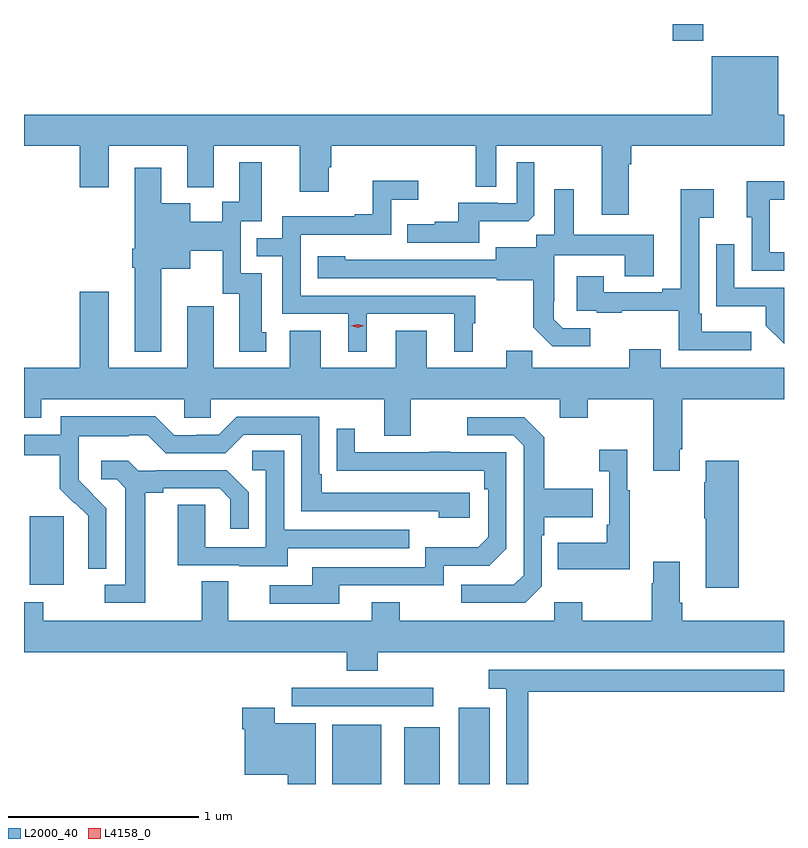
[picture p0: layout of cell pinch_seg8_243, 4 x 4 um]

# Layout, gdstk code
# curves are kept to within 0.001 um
import gdstk
lib = gdstk.Library(unit=1e-6, precision=1e-09)
def R(c, l, rs):  # rectangles x0, y0, x1, y1
    for r in rs: c.add(gdstk.rectangle(r[:2], r[2:], *l))
def P(c, l, *ps):  # polygons
    for p in ps: c.add(gdstk.Polygon(p, *l))
L2000_40 = (2000, 40)
L4158_0 = (4158, 0)

pinch_seg8_243 = lib.new_cell('pinch_seg8_243')
R(pinch_seg8_243, L2000_40, [(820.928,1098.49,821.185,1098.802), (821.306,1098.49,821.494,1098.79), (821.594,1098.49,821.755,1098.892), (820.713,1098.9,821.458,1098.996), (819.335,1099.538,819.514,1099.899), (822.719,1102.401,822.879,1102.49)])
P(pinch_seg8_243, L2000_40, [(822.487,1101.752),(822.5,1101.752),(822.5,1101.848),(823.305,1101.848),(823.305,1102.012),(823.276,1102.012),(823.276,1102.321),(822.926,1102.321),(822.926,1102.012),(819.305,1102.012),(819.305,1101.848),(819.599,1101.848),(819.599,1101.63),(819.751,1101.63),(819.751,1101.848),(820.163,1101.848),(820.163,1101.632),(820.303,1101.632),(820.303,1101.848),(820.757,1101.848),(820.757,1101.606),(820.909,1101.606),(820.909,1101.735),(820.922,1101.735),(820.922,1101.848),(821.682,1101.848),(821.682,1101.634),(821.79,1101.634),(821.79,1101.848),(822.347,1101.848),(822.347,1101.486),(822.487,1101.486)],
  [(821.701,1101.452),(821.959,1101.452),(821.991,1101.483),(821.991,1101.763),(821.898,1101.763),(821.898,1101.546),(821.798,1101.546),(821.798,1101.549),(821.591,1101.549),(821.591,1101.448),(821.467,1101.448),(821.467,1101.436),(821.323,1101.436),(821.323,1101.339),(821.701,1101.339)],
  [(820.027,1101.203),(820.18,1101.203),(820.18,1101.296),(820.35,1101.296),(820.35,1101.069),(820.439,1101.069),(820.439,1100.766),(820.579,1100.766),(820.579,1100.868),(820.555,1100.868),(820.555,1101.177),(820.446,1101.177),(820.446,1101.453),(820.555,1101.453),(820.555,1101.763),(820.439,1101.763),(820.439,1101.554),(820.349,1101.554),(820.349,1101.448),(820.18,1101.448),(820.18,1101.547),(820.027,1101.547),(820.027,1101.733),(819.887,1101.733),(819.887,1101.307),(819.875,1101.307),(819.875,1101.207),(819.887,1101.207),(819.887,1100.765),(820.027,1100.765)],
  [(821.11,1100.964),(821.57,1100.964),(821.57,1100.765),(821.668,1100.765),(821.668,1100.916),(821.68,1100.916),(821.68,1101.06),(820.761,1101.06),(820.761,1101.381),(821.238,1101.381),(821.238,1101.566),(821.38,1101.566),(821.38,1101.665),(821.14,1101.665),(821.14,1101.49),(821.045,1101.49),(821.045,1101.477),(820.665,1101.477),(820.665,1101.363),(820.531,1101.363),(820.531,1101.267),(820.665,1101.267),(820.665,1100.964),(821.012,1100.964),(821.012,1100.765),(821.11,1100.765)],
  [(823.305,1101.288),(823.23,1101.288),(823.23,1101.564),(823.305,1101.564),(823.305,1101.662),(823.109,1101.662),(823.109,1101.474),(823.134,1101.474),(823.134,1101.192),(823.305,1101.192)],
  [(823.132,1100.869),(822.871,1100.869),(822.871,1100.965),(822.858,1100.965),(822.858,1101.47),(822.934,1101.47),(822.934,1101.619),(822.761,1101.619),(822.761,1101.097),(822.665,1101.097),(822.665,1101.078),(822.355,1101.078),(822.355,1101.163),(822.215,1101.163),(822.215,1100.982),(822.319,1100.982),(822.319,1100.97),(822.451,1100.97),(822.451,1100.981),(822.75,1100.981),(822.75,1100.772),(823.132,1100.772)],
  [(822.286,1100.889),(822.141,1100.889),(822.094,1100.936),(822.094,1101.031),(822.096,1101.031),(822.096,1101.272),(822.467,1101.272),(822.467,1101.163),(822.619,1101.163),(822.619,1101.382),(822.199,1101.382),(822.199,1101.619),(822.095,1101.619),(822.095,1101.38),(822,1101.38),(822,1101.316),(821.789,1101.316),(821.789,1101.249),(820.995,1101.25),(820.995,1101.268),(820.851,1101.268),(820.851,1101.153),(821.793,1101.153),(821.793,1101.141),(821.985,1101.141),(821.985,1100.895),(822.085,1100.795),(822.286,1100.795)],
  [(823.305,1101.102),(823.044,1101.102),(823.044,1101.331),(822.948,1101.331),(822.948,1101.005),(823.21,1101.005),(823.21,1100.903),(823.305,1100.807)],
  [(820.287,1100.516),(821.201,1100.516),(821.201,1100.322),(821.341,1100.322),(821.341,1100.516),(822.125,1100.516),(822.125,1100.417),(822.273,1100.417),(822.273,1100.516),(822.617,1100.516),(822.617,1100.139),(822.757,1100.139),(822.757,1100.251),(822.77,1100.251),(822.77,1100.516),(823.305,1100.516),(823.305,1100.68),(822.655,1100.68),(822.655,1100.779),(822.491,1100.779),(822.491,1100.68),(821.981,1100.68),(821.981,1100.771),(821.843,1100.771),(821.843,1100.68),(821.425,1100.68),(821.425,1100.875),(821.261,1100.875),(821.261,1100.68),(820.867,1100.68),(820.867,1100.875),(820.703,1100.875),(820.703,1100.68),(820.303,1100.68),(820.303,1101.004),(820.163,1101.004),(820.163,1100.68),(819.751,1100.68),(819.751,1101.082),(819.599,1101.082),(819.599,1100.68),(819.305,1100.68),(819.305,1100.417),(819.397,1100.417),(819.397,1100.516),(820.149,1100.516),(820.149,1100.418),(820.287,1100.418)],
  [(819.738,1099.942),(819.592,1100.09),(819.592,1100.187),(819.594,1100.187),(819.594,1100.321),(819.857,1100.321),(819.857,1100.325),(819.957,1100.325),(820.05,1100.232),(820.365,1100.232),(820.461,1100.328),(820.764,1100.328),(820.764,1099.926),(821.489,1099.926),(821.489,1099.892),(821.65,1099.892),(821.65,1100.022),(820.873,1100.022),(820.873,1100.119),(820.86,1100.119),(820.86,1100.424),(820.425,1100.424),(820.329,1100.328),(820.211,1100.328),(820.211,1100.325),(820.095,1100.325),(819.995,1100.425),(819.498,1100.425),(819.498,1100.328),(819.305,1100.328),(819.305,1100.22),(819.493,1100.22),(819.493,1100.045),(819.57,1099.968),(819.573,1099.971),(819.644,1099.901),(819.644,1099.778),(819.642,1099.778),(819.642,1099.624),(819.738,1099.624)],
  [(822.03,1099.53),(822.03,1099.799),(822.043,1099.799),(822.043,1099.895),(822.299,1099.895),(822.299,1100.043),(822.043,1100.043),(822.043,1100.315),(821.937,1100.421),(821.637,1100.421),(821.637,1100.325),(821.88,1100.325),(821.934,1100.271),(821.934,1099.59),(821.883,1099.539),(821.607,1099.539),(821.607,1099.443),(821.943,1099.443)],
  [(820.963,1099.536),(821.514,1099.536),(821.514,1099.638),(821.754,1099.638),(821.844,1099.728),(821.844,1100.235),(821.549,1100.235),(821.549,1100.24),(821.437,1100.24),(821.437,1100.235),(821.047,1100.235),(821.047,1100.359),(820.951,1100.359),(820.951,1100.14),(821.728,1100.139),(821.728,1100.042),(821.748,1100.042),(821.748,1099.788),(821.695,1099.735),(821.418,1099.735),(821.418,1099.632),(820.823,1099.632),(820.823,1099.536),(820.599,1099.536),(820.599,1099.44),(820.963,1099.44)],
  [(822.493,1100.035),(822.481,1100.035),(822.481,1100.248),(822.333,1100.248),(822.333,1100.135),(822.384,1100.135),(822.384,1099.855),(822.372,1099.855),(822.372,1099.759),(822.115,1099.759),(822.115,1099.619),(822.493,1099.619)],
  [(820.693,1099.731),(821.333,1099.731),(821.333,1099.827),(820.674,1099.827),(820.674,1100.243),(820.506,1100.243),(820.506,1100.142),(820.578,1100.142),(820.578,1099.737),(820.26,1099.737),(820.26,1099.961),(820.115,1099.961),(820.115,1099.641),(820.439,1099.641),(820.439,1099.637),(820.693,1099.637)],
  [(819.943,1100.024),(820.039,1100.024),(820.039,1100.046),(820.334,1100.046),(820.391,1099.989),(820.391,1099.833),(820.488,1099.833),(820.488,1100.026),(820.372,1100.142),(820,1100.142),(820,1100.139),(819.906,1100.139),(819.854,1100.191),(819.711,1100.191),(819.711,1100.094),(819.792,1100.094),(819.839,1100.047),(819.839,1099.539),(819.729,1099.539),(819.729,1099.443),(819.943,1099.443)],
  [(823.066,1100.191),(822.893,1100.191),(822.893,1100.078),(822.886,1100.078),(822.886,1099.889),(822.893,1099.889),(822.893,1099.524),(823.066,1099.524)],
  [(821.168,1099.184),(823.305,1099.184),(823.305,1099.348),(822.77,1099.348),(822.77,1099.444),(822.757,1099.444),(822.757,1099.66),(822.617,1099.66),(822.617,1099.547),(822.61,1099.547),(822.61,1099.348),(822.243,1099.348),(822.243,1099.447),(822.096,1099.447),(822.096,1099.348),(821.283,1099.348),(821.283,1099.447),(821.135,1099.447),(821.135,1099.348),(820.381,1099.348),(820.381,1099.556),(820.241,1099.556),(820.241,1099.348),(819.405,1099.348),(819.405,1099.447),(819.305,1099.447),(819.305,1099.184),(821.003,1099.184),(821.003,1099.085),(821.168,1099.085)],
  [(821.96,1098.976),(823.305,1098.976),(823.305,1099.092),(821.751,1099.092),(821.751,1098.992),(821.844,1098.992),(821.844,1098.49),(821.96,1098.49)],
  [(820.84,1098.811),(820.624,1098.811),(820.624,1098.892),(820.454,1098.892),(820.454,1098.779),(820.466,1098.779),(820.466,1098.539),(820.694,1098.539),(820.694,1098.49),(820.84,1098.49)])
P(pinch_seg8_243, L4158_0, [(821.061,1100.891),(821.025,1100.901),(821.025,1100.901),(821.025,1100.902),(821.061,1100.911),(821.097,1100.902),(821.097,1100.901),(821.097,1100.901)])

lib.write_gds('pinch_seg8_243.gds')
